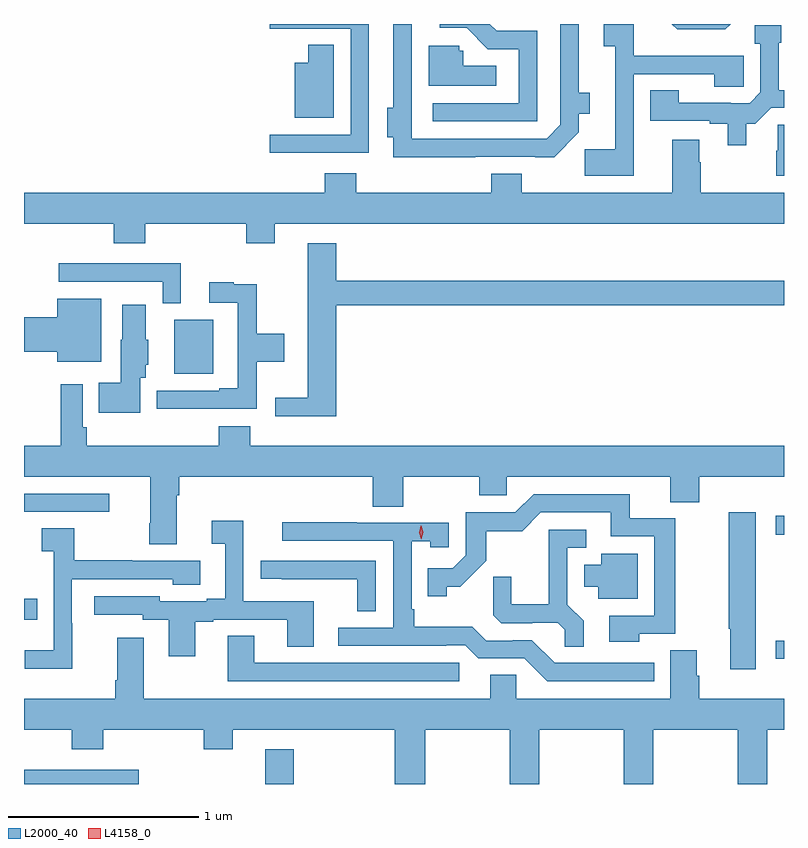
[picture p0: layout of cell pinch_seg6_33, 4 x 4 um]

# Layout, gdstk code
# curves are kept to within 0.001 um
import gdstk
lib = gdstk.Library(unit=1e-6, precision=1e-09)
def R(c, l, rs):  # rectangles x0, y0, x1, y1
    for r in rs: c.add(gdstk.rectangle(r[:2], r[2:], *l))
def P(c, l, *ps):  # polygons
    for p in ps: c.add(gdstk.Polygon(p, *l))
L2000_40 = (2000, 40)
L4158_0 = (4158, 0)

pinch_seg6_33 = lib.new_cell('pinch_seg6_33')
R(pinch_seg6_33, L2000_40, [(1009.896,961.703,1010.5,961.779), (1011.167,961.703,1011.317,961.885), (1013.853,962.361,1013.896,962.457), (1009.896,962.567,1009.967,962.677), (1013.853,963.015,1013.896,963.115), (1009.896,963.135,1010.344,963.231), (1010.687,963.863,1010.893,964.147)])
P(pinch_seg6_33, L2000_40, [(1013.616,965.703),(1013.306,965.703),(1013.334,965.675),(1013.588,965.675)],
  [(1012.271,965.004),(1012.687,965.003),(1012.817,965.132),(1012.817,965.231),(1012.873,965.231),(1012.873,965.341),(1012.816,965.341),(1012.816,965.703),(1012.719,965.703),(1012.719,965.172),(1012.647,965.1),(1011.936,965.1),(1011.936,965.703),(1011.84,965.703),(1011.84,965.261),(1011.809,965.261),(1011.809,965.108),(1011.84,965.108),(1011.84,965.003)],
  [(1012.596,965.667),(1012.383,965.667),(1012.347,965.703),(1012.083,965.703),(1012.083,965.682),(1012.227,965.682),(1012.338,965.571),(1012.5,965.571),(1012.5,965.286),(1012.047,965.286),(1012.047,965.19),(1012.596,965.19)],
  [(1013.106,965.439),(1013.53,965.439),(1013.53,965.374),(1013.683,965.374),(1013.683,965.535),(1013.573,965.535),(1013.573,965.536),(1013.106,965.536),(1013.106,965.703),(1012.947,965.703),(1012.947,965.586),(1013.009,965.586),(1013.009,965.043),(1012.848,965.043),(1012.848,964.904),(1013.106,964.904)],
  [(1011.711,965.703),(1011.189,965.703),(1011.189,965.679),(1011.615,965.679),(1011.615,965.121),(1011.189,965.121),(1011.189,965.025),(1011.711,965.025)],
  [(1013.698,965.178),(1013.745,965.178),(1013.829,965.262),(1013.896,965.262),(1013.896,965.355),(1013.868,965.355),(1013.868,965.604),(1013.881,965.604),(1013.881,965.697),(1013.742,965.697),(1013.742,965.599),(1013.772,965.599),(1013.772,965.343),(1013.715,965.286),(1013.615,965.286),(1013.615,965.289),(1013.343,965.289),(1013.343,965.354),(1013.191,965.354),(1013.191,965.193),(1013.504,965.193),(1013.504,965.178),(1013.6,965.178),(1013.6,965.064),(1013.698,965.064)],
  [(1011.526,965.594),(1011.392,965.594),(1011.392,965.5),(1011.32,965.5),(1011.32,965.21),(1011.526,965.21)],
  [(1012.381,965.482),(1012.209,965.482),(1012.209,965.562),(1012.188,965.562),(1012.188,965.589),(1012.025,965.589),(1012.025,965.378),(1012.381,965.378)],
  [(1013.896,965.174),(1013.863,965.174),(1013.863,965.037),(1013.854,965.037),(1013.854,964.905),(1013.896,964.905)],
  [(1010.534,964.652),(1011.065,964.652),(1011.065,964.55),(1011.217,964.55),(1011.217,964.652),(1013.896,964.652),(1013.896,964.816),(1013.457,964.816),(1013.457,964.976),(1013.449,964.976),(1013.449,965.095),(1013.309,965.095),(1013.309,964.816),(1012.515,964.816),(1012.515,964.915),(1012.355,964.915),(1012.355,964.816),(1011.644,964.816),(1011.644,964.918),(1011.479,964.918),(1011.479,964.816),(1009.896,964.816),(1009.896,964.652),(1010.369,964.652),(1010.369,964.55),(1010.534,964.55)],
  [(1011.539,964.222),(1013.896,964.222),(1013.896,964.351),(1011.539,964.351),(1011.539,964.549),(1011.389,964.549),(1011.389,963.737),(1011.219,963.737),(1011.219,963.638),(1011.539,963.638)],
  [(1010.722,964.443),(1010.079,964.443),(1010.079,964.347),(1010.625,964.347),(1010.625,964.232),(1010.722,964.232)],
  [(1010.837,963.678),(1011.122,963.678),(1011.122,963.926),(1011.265,963.926),(1011.265,964.074),(1011.122,964.074),(1011.122,964.334),(1010.999,964.334),(1010.999,964.345),(1010.871,964.345),(1010.871,964.236),(1011.021,964.236),(1011.021,963.787),(1010.924,963.787),(1010.924,963.774),(1010.595,963.774),(1010.595,963.677),(1010.837,963.677)],
  [(1010.302,964.258),(1010.072,964.258),(1010.072,964.16),(1009.896,964.16),(1009.896,963.977),(1010.072,963.977),(1010.072,963.926),(1010.302,963.926)],
  [(1010.509,963.84),(1010.536,963.84),(1010.536,963.909),(1010.551,963.909),(1010.551,964.041),(1010.536,964.041),(1010.536,964.225),(1010.414,964.225),(1010.414,964.041),(1010.405,964.041),(1010.405,963.814),(1010.29,963.814),(1010.29,963.656),(1010.509,963.656)],
  [(1011.086,963.586),(1010.921,963.586),(1010.921,963.484),(1010.225,963.484),(1010.225,963.58),(1010.205,963.58),(1010.205,963.808),(1010.089,963.808),(1010.089,963.484),(1009.896,963.484),(1009.896,963.32),(1010.561,963.32),(1010.561,963.076),(1010.554,963.076),(1010.554,962.964),(1010.701,962.964),(1010.701,963.224),(1010.714,963.224),(1010.714,963.32),(1011.731,963.32),(1011.731,963.163),(1011.891,963.163),(1011.891,963.32),(1012.291,963.32),(1012.291,963.222),(1012.437,963.222),(1012.437,963.32),(1013.297,963.32),(1013.297,963.187),(1013.45,963.187),(1013.45,963.32),(1013.896,963.32),(1013.896,963.484),(1011.086,963.484)],
  [(1013.133,962.493),(1013.323,962.493),(1013.323,963.102),(1013.084,963.102),(1013.084,963.228),(1012.578,963.228),(1012.482,963.132),(1012.221,963.132),(1012.221,962.907),(1012.152,962.838),(1012.021,962.838),(1012.021,962.691),(1012.122,962.691),(1012.122,962.741),(1012.192,962.741),(1012.33,962.878),(1012.33,963.034),(1012.519,963.034),(1012.617,963.132),(1012.985,963.132),(1012.985,963.006),(1013.214,963.006),(1013.214,962.589),(1012.977,962.589),(1012.977,962.453),(1013.133,962.453)],
  [(1013.746,963.133),(1013.605,963.133),(1013.605,962.519),(1013.612,962.519),(1013.612,962.307),(1013.746,962.307)],
  [(1010.797,962.556),(1010.893,962.556),(1010.893,962.568),(1011.281,962.568),(1011.281,962.425),(1011.421,962.425),(1011.421,962.664),(1011.051,962.664),(1011.051,963.088),(1010.883,963.088),(1010.883,962.968),(1010.954,962.968),(1010.954,962.677),(1010.858,962.677),(1010.858,962.664),(1010.61,962.664),(1010.61,962.691),(1010.265,962.691),(1010.265,962.595),(1010.52,962.595),(1010.52,962.568),(1010.657,962.568),(1010.657,962.376),(1010.797,962.376)],
  [(1013.212,962.34),(1012.689,962.34),(1012.569,962.46),(1012.468,962.46),(1012.468,962.457),(1012.329,962.457),(1012.256,962.53),(1011.949,962.53),(1011.949,962.623),(1011.936,962.623),(1011.936,962.981),(1012.035,962.981),(1012.035,962.949),(1012.131,962.949),(1012.131,963.078),(1011.647,963.078),(1011.647,963.081),(1011.255,963.081),(1011.255,962.982),(1011.84,962.982),(1011.84,962.526),(1011.549,962.526),(1011.549,962.43),(1012.118,962.43),(1012.118,962.433),(1012.218,962.433),(1012.287,962.364),(1012.53,962.364),(1012.65,962.244),(1013.212,962.244)],
  [(1010.151,962.549),(1010.148,962.549),(1010.148,962.781),(1010.679,962.781),(1010.679,962.753),(1010.824,962.753),(1010.824,962.877),(1010.465,962.877),(1010.465,962.88),(1010.161,962.88),(1010.161,963.05),(1009.989,963.05),(1009.989,962.929),(1010.052,962.929),(1010.052,962.407),(1009.899,962.407),(1009.899,962.309),(1010.151,962.309)],
  [(1012.841,962.561),(1012.755,962.647),(1012.755,962.946),(1012.855,962.946),(1012.855,963.042),(1012.658,963.042),(1012.658,962.65),(1012.46,962.65),(1012.46,962.793),(1012.366,962.793),(1012.366,962.591),(1012.407,962.55),(1012.572,962.55),(1012.572,962.553),(1012.706,962.553),(1012.743,962.516),(1012.743,962.425),(1012.841,962.425)],
  [(1013.125,962.914),(1012.934,962.914),(1012.934,962.857),(1012.844,962.857),(1012.844,962.741),(1012.919,962.741),(1012.919,962.678),(1013.125,962.678)],
  [(1011.747,962.877),(1011.141,962.877),(1011.141,962.782),(1011.253,962.782),(1011.253,962.781),(1011.649,962.781),(1011.649,962.611),(1011.747,962.611)],
  [(1012.186,962.34),(1011.109,962.34),(1011.109,962.483),(1010.969,962.483),(1010.969,962.244),(1012.186,962.244)],
  [(1012.488,962.279),(1012.349,962.279),(1012.349,962.152),(1010.527,962.152),(1010.527,962.473),(1010.387,962.473),(1010.387,962.248),(1010.375,962.248),(1010.375,962.152),(1009.896,962.152),(1009.896,961.988),(1010.147,961.988),(1010.147,961.886),(1010.312,961.886),(1010.312,961.988),(1010.843,961.988),(1010.843,961.886),(1010.995,961.886),(1010.995,961.988),(1011.848,961.988),(1011.848,961.703),(1012.008,961.703),(1012.008,961.988),(1012.453,961.988),(1012.453,961.703),(1012.608,961.703),(1012.608,961.988),(1013.053,961.988),(1013.053,961.703),(1013.208,961.703),(1013.208,961.988),(1013.653,961.988),(1013.653,961.703),(1013.808,961.703),(1013.808,961.988),(1013.896,961.988),(1013.896,962.152),(1013.45,962.152),(1013.45,962.274),(1013.437,962.274),(1013.437,962.408),(1013.297,962.408),(1013.297,962.152),(1012.488,962.152)])
P(pinch_seg6_33, L4158_0, [(1011.988,962.991),(1011.988,962.991),(1011.977,963.026),(1011.985,963.063),(1011.985,963.063),(1011.986,963.063),(1011.997,963.027),(1011.988,962.991)])

lib.write_gds('pinch_seg6_33.gds')
